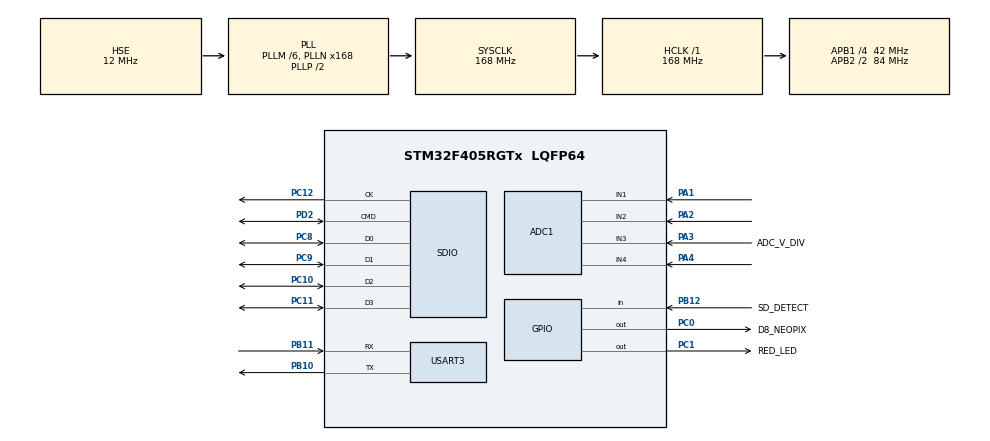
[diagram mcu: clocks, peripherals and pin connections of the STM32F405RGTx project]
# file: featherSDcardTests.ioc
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ADC1.Channel-0\#ChannelRegularConversion=ADC_CHANNEL_1
ADC1.Channel-1\#ChannelRegularConversion=ADC_CHANNEL_2
ADC1.Channel-2\#ChannelRegularConversion=ADC_CHANNEL_4
ADC1.DMAContinuousRequests=ENABLE
ADC1.EOCSelection=ADC_EOC_SEQ_CONV
ADC1.ExternalTrigConv=ADC_EXTERNALTRIGCONV_T2_TRGO
ADC1.NbrOfConversion=3
ADC1.NbrOfConversionFlag=1
ADC1.Rank-0\#ChannelRegularConversion=1
ADC1.Rank-1\#ChannelRegularConversion=2
ADC1.Rank-2\#ChannelRegularConversion=3
ADC1.SamplingTime-0\#ChannelRegularConversion=ADC_SAMPLETIME_28CYCLES
ADC1.SamplingTime-1\#ChannelRegularConversion=ADC_SAMPLETIME_28CYCLES
ADC1.SamplingTime-2\#ChannelRegularConversion=ADC_SAMPLETIME_28CYCLES
ADC1.ScanConvMode=ENABLE
ADC1.master=1
Dma.ADC1.2.Direction=DMA_PERIPH_TO_MEMORY
Dma.ADC1.2.FIFOMode=DMA_FIFOMODE_DISABLE
Dma.ADC1.2.Instance=DMA2_Stream0
Dma.ADC1.2.MemDataAlignment=DMA_MDATAALIGN_WORD
Dma.ADC1.2.MemInc=DMA_MINC_ENABLE
Dma.ADC1.2.Mode=DMA_CIRCULAR
Dma.ADC1.2.PeriphDataAlignment=DMA_PDATAALIGN_WORD
Dma.ADC1.2.PeriphInc=DMA_PINC_DISABLE
Dma.ADC1.2.Priority=DMA_PRIORITY_HIGH
Dma.Request0=SDIO_RX
Dma.Request1=SDIO_TX
Dma.Request2=ADC1
Dma.SDIO_RX.0.Direction=DMA_PERIPH_TO_MEMORY
Dma.SDIO_RX.0.FIFOMode=DMA_FIFOMODE_ENABLE
Dma.SDIO_RX.0.FIFOThreshold=DMA_FIFO_THRESHOLD_FULL
Dma.SDIO_RX.0.Instance=DMA2_Stream3
Dma.SDIO_RX.0.MemBurst=DMA_MBURST_INC4
Dma.SDIO_RX.0.MemDataAlignment=DMA_MDATAALIGN_WORD
Dma.SDIO_RX.0.MemInc=DMA_MINC_ENABLE
Dma.SDIO_RX.0.Mode=DMA_PFCTRL
Dma.SDIO_RX.0.PeriphBurst=DMA_PBURST_INC4
Dma.SDIO_RX.0.PeriphDataAlignment=DMA_PDATAALIGN_WORD
Dma.SDIO_RX.0.PeriphInc=DMA_PINC_DISABLE
Dma.SDIO_RX.0.Priority=DMA_PRIORITY_LOW
Dma.SDIO_TX.1.Direction=DMA_MEMORY_TO_PERIPH
Dma.SDIO_TX.1.FIFOMode=DMA_FIFOMODE_ENABLE
Dma.SDIO_TX.1.FIFOThreshold=DMA_FIFO_THRESHOLD_FULL
Dma.SDIO_TX.1.Instance=DMA2_Stream6
Dma.SDIO_TX.1.MemBurst=DMA_MBURST_INC4
Dma.SDIO_TX.1.MemDataAlignment=DMA_MDATAALIGN_WORD
Dma.SDIO_TX.1.MemInc=DMA_MINC_ENABLE
Dma.SDIO_TX.1.Mode=DMA_PFCTRL
Dma.SDIO_TX.1.PeriphBurst=DMA_PBURST_INC4
Dma.SDIO_TX.1.PeriphDataAlignment=DMA_PDATAALIGN_WORD
Dma.SDIO_TX.1.PeriphInc=DMA_PINC_DISABLE
Dma.SDIO_TX.1.Priority=DMA_PRIORITY_LOW
FATFS.BSP.number=1
FATFS.USE_DMA_CODE_SD=1
FATFS._FS_LOCK=5
FATFS._MAX_SS=4096
FATFS._MIN_SS=512
FATFS._USE_LFN=2
FATFS0.BSP.STBoard=false
FATFS0.BSP.api=Unknown
FATFS0.BSP.instance=PB12
FATFS0.BSP.ip=GPIO
FATFS0.BSP.mode=Input
FATFS0.BSP.name=Detect_SDIO
FATFS0.BSP.solution=PB12
Mcu.Family=STM32F4
Mcu.Name=STM32F405RGTx
Mcu.Package=LQFP64
NVIC.ADC_IRQn=true\:0\:0\:false\:false\:true\:true\:true\:true
NVIC.DMA2_Stream0_IRQn=true\:0\:0\:false\:false\:true\:false\:true\:true
NVIC.DMA2_Stream3_IRQn=true\:0\:0\:false\:false\:true\:false\:true\:true
NVIC.DMA2_Stream6_IRQn=true\:0\:0\:false\:false\:true\:false\:true\:true
NVIC.PriorityGroup=NVIC_PRIORITYGROUP_4
NVIC.SDIO_IRQn=true\:0\:0\:false\:false\:true\:true\:true\:true
PA1.Signal=ADCx_IN1
PA13.Mode=Serial_Wire
PA13.Signal=SYS_JTMS-SWDIO
PA14.Mode=Serial_Wire
PA14.Signal=SYS_JTCK-SWCLK
PA2.Signal=ADCx_IN2
PA3.GPIO_Label=ADC_V_DIV
PA3.Signal=ADCx_IN3
PA4.Signal=ADCx_IN4
PB10.Mode=Asynchronous
PB10.Signal=USART3_TX
PB11.Mode=Asynchronous
PB11.Signal=USART3_RX
PB12.GPIO_Label=SD_DETECT
PB12.GPIO_PuPd=GPIO_PULLUP
PB12.Signal=GPIO_Input
PC0.GPIO_Label=D8_NEOPIX
PC0.Signal=GPIO_Output
PC1.GPIO_Label=RED_LED
PC1.Signal=GPIO_Output
PC10.GPIO_PuPd=GPIO_PULLUP
PC10.Mode=SD_4_bits_Wide_bus
PC10.Signal=SDIO_D2
PC11.GPIO_PuPd=GPIO_NOPULL
PC11.Mode=SD_4_bits_Wide_bus
PC11.Signal=SDIO_D3
PC12.GPIO_PuPd=GPIO_NOPULL
PC12.Mode=SD_4_bits_Wide_bus
PC12.Signal=SDIO_CK
PC8.GPIO_PuPd=GPIO_PULLUP
PC8.Mode=SD_4_bits_Wide_bus
PC8.Signal=SDIO_D0
PC9.GPIO_PuPd=GPIO_PULLUP
PC9.Mode=SD_4_bits_Wide_bus
PC9.Signal=SDIO_D1
PD2.GPIO_PuPd=GPIO_PULLUP
PD2.Mode=SD_4_bits_Wide_bus
PD2.Signal=SDIO_CMD
PH0-OSC_IN.Mode=HSE-External-Oscillator
PH0-OSC_IN.Signal=RCC_OSC_IN
PH1-OSC_OUT.Mode=HSE-External-Oscillator
PH1-OSC_OUT.Signal=RCC_OSC_OUT
ProjectManager.HeapSize=0x2000
ProjectManager.StackSize=0x4000
ProjectManager.TargetToolchain=STM32CubeIDE
RCC.48MHZClocksFreq_Value=48000000
RCC.AHBFreq_Value=168000000
RCC.APB1CLKDivider=RCC_HCLK_DIV4
RCC.APB1Freq_Value=42000000
RCC.APB1TimFreq_Value=84000000
RCC.APB2CLKDivider=RCC_HCLK_DIV2
RCC.APB2Freq_Value=84000000
RCC.APB2TimFreq_Value=168000000
RCC.CortexFreq_Value=168000000
RCC.HCLKFreq_Value=168000000
RCC.HSE_VALUE=12000000
RCC.HSI_VALUE=16000000
RCC.LSE_VALUE=32768
RCC.PLLM=6
RCC.PLLN=168
RCC.PLLQ=7
RCC.PLLSourceVirtual=RCC_PLLSOURCE_HSE
RCC.SYSCLKFreq_VALUE=168000000
RCC.SYSCLKSource=RCC_SYSCLKSOURCE_PLLCLK
RCC.VCOOutputFreq_Value=336000000
SDIO.ClockDiv=4
SH.ADCx_IN1.0=ADC1_IN1,IN1
SH.ADCx_IN2.0=ADC1_IN2,IN2
SH.ADCx_IN3.0=ADC1_IN3,IN3
SH.ADCx_IN4.0=ADC1_IN4,IN4
TIM2.Period=250-1
TIM2.Prescaler=168-1
TIM2.TIM_MasterOutputTrigger=TIM_TRGO_UPDATE
USART3.VirtualMode=VM_ASYNC
VP_FATFS_VS_SDIO.Mode=SDIO
VP_TIM2_VS_ClockSourceINT.Mode=Internal
board=custom

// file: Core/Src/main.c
/* USER CODE BEGIN Header */
/**
  ******************************************************************************
  * @file           : main.c
  * @brief          : Main program body
  ******************************************************************************
  * @attention
  *
  * Copyright (c) 2023 STMicroelectronics.
  * All rights reserved.
  *
  * This software is licensed under terms that can be found in the LICENSE file
  * in the root directory of this software component.
  * If no LICENSE file comes with this software, it is provided AS-IS.
  *
  ******************************************************************************
  */
/* USER CODE END Header */
#include "main.h"
#include "adc.h"
#include "dma.h"
#include "fatfs.h"
#include "sdio.h"
#include "tim.h"
#include "usart.h"
#include "gpio.h"

/* USER CODE BEGIN Includes */
#include "errorstringifyFRresult.h"
#include "sdTESTS.h"
#include <string.h>
#include <stdio.h>
#include <math.h>
/* USER CODE END Includes */

/* USER CODE BEGIN PD */
#define SampleSize 24576
/* USER CODE END PD */

/* USER CODE BEGIN PV */
  FRESULT fres;
  char log_path[] = "/RAW.TXT";
  char log_x[]="/XAXIS.TXT";
  char log_y[]="/YAXIS.TXT";
  char log_z[]="/ZAXIS.TXT";
  char log_r[]="/RESULTANT.TXT";
  char log_x_M[]="/XMFREE.TXT";
  char log_y_M[]="/YMFREE.TXT";
  char log_z_M[]="/ZMFREE.TXT";
  char log_r_M[]="/RMFREE.TXT";

  char log_x_F[]="/XFFT.TXT";
  char log_y_F[]="/YFFT.TXT";
  char log_z_F[]="/ZFFT.TXT";
  char log_r_F[]="/RFFT.TXT";

#define BufferSize 2048
#define ADC_VAL_SIZE 48
uint32_t adcVal[ADC_VAL_SIZE];
uint32_t adcFlush[ADC_VAL_SIZE];
double buffer[BufferSize];
volatile char read_flag=0;
unsigned long count=0;

#define ARM_MATH_CM4
#include "arm_math.h"
int fftbufferIndex = 0;
#define FFT_BUFFER_SIZE 2048
#define SAMPLING_RATE 935.15
arm_rfft_fast_instance_f32 fftHandler;
float32_t fftBuffIn[FFT_BUFFER_SIZE];
float32_t fftBuffOut[FFT_BUFFER_SIZE];
float32_t outputfft_mag_xAxis[FFT_BUFFER_SIZE/2];
float32_t outputfft_mag_yAxis[FFT_BUFFER_SIZE/2];
float32_t outputfft_mag_zAxis[FFT_BUFFER_SIZE/2];
float32_t outputfft_mag_R[FFT_BUFFER_SIZE/2];
uint8_t fftFlag=0;
  /* File read buffer */
/* USER CODE END PV */

void SystemClock_Config(void);

/* USER CODE BEGIN 0 */
double calculateAverage(const double *values, int size) {
    if (size <= 0) {
        return 0.0;  // Return 0 for an empty array or invalid size
    }
    double sum = 0.0;
    for (int i = 0; i < size; i++) {
        sum += values[i];
    }
    return sum / size;
}
void processAndSaveData(const char *inputFileName, const char *outputFileName, double *buffer, int bufferSize, double *totalAverage) {
    FRESULT fresult;
    FIL inputFile, outputFile;
    char line[20];
    int bufferIndex = 0;
    int iterationCount = 0;

//    // Mount the SD card
//    fresult = f_mount(&SDFatFS, SDPath, 1);
//    if (fres != FR_OK) {
//        // Handle SD mount error
//        return;
//    }

    fresult = f_open(&inputFile, inputFileName, FA_READ);
    if (fresult != FR_OK) {
      return;
    }

    fresult = f_open(&outputFile, outputFileName, FA_OPEN_ALWAYS | FA_WRITE);
    if (fresult != FR_OK) {
        f_close(&inputFile);
        return;
    }

    while (f_gets(line, sizeof(line), &inputFile) != NULL) {
        double currentSample;
        if (sscanf(line, "%lf", &currentSample) == 1) {
            buffer[bufferIndex] = currentSample;
            bufferIndex++;

            if (bufferIndex == bufferSize) {
                *totalAverage += calculateAverage(buffer, bufferSize);
                bufferIndex = 0;
                iterationCount=iterationCount+1;
            }
        }
    }

    *totalAverage /= iterationCount;

    f_lseek(&inputFile, 0);

    while (f_gets(line, sizeof(line), &inputFile) != NULL) {
        double value;
        if (sscanf(line, "%lf", &value) == 1) {
            double diff = value - *totalAverage;
            snprintf(buffer, bufferSize, "%.2f\n", diff);
            f_puts(buffer, &outputFile);
        }
    }

    f_close(&inputFile);
    f_close(&outputFile);
}

void writeToFile(char* path1, char* path2, char* path3, uint32_t* buffer, int size) {
    char fileBuffer1[1024];
    char fileBuffer2[1024];
    char fileBuffer3[1024];
    char intBuffer[6];  // Buffer to hold the integer as a string

    int counter1 = 0;
    int counter2 = 0;
    int counter3 = 0;

    char* fbPtr1 = &fileBuffer1[0];
    char* fbPtr2 = &fileBuffer2[0];
    char* fbPtr3 = &fileBuffer3[0];

    // Initialize the buffers
    memset(fileBuffer1, 0, sizeof(fileBuffer1));
    memset(fileBuffer2, 0, sizeof(fileBuffer2));
    memset(fileBuffer3, 0, sizeof(fileBuffer3));
    memset(intBuffer, 0, sizeof(intBuffer));

    // Loop over the buffer and distribute the data into three files
    for (int i = 0; i < size; i += 3) {
        // Process for file 1
        int c = snprintf(intBuffer, sizeof(intBuffer), "%d\n", (int)buffer[i]);
        if (counter1 + c > 1024) {
            // When buffer is full, append to file
            AppendToFile(path1, strlen(path1), fileBuffer1, counter1);
            counter1 = 0;
            memset(fileBuffer1, 0, sizeof(fileBuffer1));
        }
        memcpy(&fileBuffer1[counter1], intBuffer, c);
        counter1 += c;
        fbPtr1+=c;

        // Process for file 2
        if (i + 1 < size) {
            c = snprintf(intBuffer, sizeof(intBuffer), "%d\n", (int)buffer[i + 1]);
            if (counter2 + c > 1024) {
                AppendToFile(path2, strlen(path2), fileBuffer2, counter2);
                counter2 = 0;
                memset(fileBuffer2, 0, sizeof(fileBuffer2));
            }
            memcpy(&fileBuffer2[counter2], intBuffer, c);
            counter2 += c;
            fbPtr2 += c;
        }

        // Process for file 3
        if (i + 2 < size) {
            c = snprintf(intBuffer, sizeof(intBuffer), "%d\n", (int)buffer[i + 2]);
            if (counter3 + c > 1024) {
                AppendToFile(path3, strlen(path3), fileBuffer3, counter3);
                counter3 = 0;
                memset(fileBuffer3, 0, sizeof(fileBuffer3));
            }
            memcpy(&fileBuffer3[counter3], intBuffer, c);
            counter3 += c;
            fbPtr3 += c;
        }
    }

    // After the loop, append any remaining data to the files
    if (counter1 > 0) {
        AppendToFile(path1, strlen(path1), fileBuffer1, counter1);
    }
    if (counter2 > 0) {
        AppendToFile(path2, strlen(path2), fileBuffer2, counter2);
    }
    if (counter3 > 0) {
        AppendToFile(path3, strlen(path3), fileBuffer3, counter3);
    }
}
void HAL_ADC_ConvCpltCallback(ADC_HandleTypeDef* hadc)
 {
	read_flag = 1;
	memcpy(adcFlush,adcVal,ADC_VAL_SIZE*sizeof(uint32_t));
	//HAL_GPIO_TogglePin(GPIOA, GPIO_PIN_8);
 }
void calculateResultant(char* xPath, char* yPath, char* zPath, char* resultPath) {
    // Buffers to hold file data
    char xBuffer[32];
    char yBuffer[32];
    char zBuffer[32];
    char resultBuffer[1024];
    int resultCounter = 0;
    char resultStr[32];
    int xValue, yValue, zValue;

    // Initialize file structures
    FIL xFile, yFile, zFile, resultFile;
    FRESULT fres;

//    // Mount the SD card
//    fres = f_mount(&SDFatFS, SDPath, 1);
//    if (fres != FR_OK) {
//        // Handle SD mount error
//        return;
//    }

    // Open the X, Y, Z axis files for reading
    fres = f_open(&xFile, xPath, FA_READ);
    if (fres != FR_OK) {
        // Handle file open error
        return;
    }

    fres = f_open(&yFile, yPath, FA_READ);
    if (fres != FR_OK) {
        // Handle file open error
        f_close(&xFile);
        return;
    }

    fres = f_open(&zFile, zPath, FA_READ);
    if (fres != FR_OK) {
        // Handle file open error
        f_close(&xFile);
        f_close(&yFile);
        return;
    }

    // Open the result file for writing
    fres = f_open(&resultFile, resultPath, FA_WRITE | FA_CREATE_ALWAYS);
    if (fres != FR_OK) {
        // Handle file open error
        f_close(&xFile);
        f_close(&yFile);
        f_close(&zFile);
        return;
    }

    // Read lines from X, Y, Z files, compute resultant, and write to result file
    while ((f_gets(xBuffer, sizeof(xBuffer), &xFile) != NULL) &&
           (f_gets(yBuffer, sizeof(yBuffer), &yFile) != NULL) &&
           (f_gets(zBuffer, sizeof(zBuffer), &zFile) != NULL)) {

        // Convert strings to integers
        xValue = atoi(xBuffer);
        yValue = atoi(yBuffer);
        zValue = atoi(zBuffer);

        // Calculate the resultant vector: sqrt(x^2 + y^2 + z^2)
        float resultant = sqrtf((xValue * xValue) + (yValue * yValue) + (zValue * zValue));

        // Convert the resultant to string and append to buffer
        int len = snprintf(resultStr, sizeof(resultStr), "%.2f\n", resultant);
        if (resultCounter + len >= sizeof(resultBuffer)) {
            // If buffer is full, write to file and reset the counter
            f_write(&resultFile, resultBuffer, resultCounter, NULL);
            resultCounter = 0;
            memset(resultBuffer, 0, sizeof(resultBuffer));
        }
        memcpy(&resultBuffer[resultCounter], resultStr, len);
        resultCounter += len;
    }

    // Write any remaining data in the buffer
    if (resultCounter > 0) {
        f_write(&resultFile, resultBuffer, resultCounter, NULL);
    }

    // Close all files
    f_close(&xFile);
    f_close(&yFile);
    f_close(&zFile);
    f_close(&resultFile);

//    // Unmount the SD card
//    f_mount(NULL, SDPath, 1);
}
void fftResults(const char *data_file, const char *fft_file, float *outputfft_mag, float *fftBuffIn, float *fftBuffOut) {
    FIL fil1, fil2;
    FRESULT fresult;

//    // Mount the SD card
//    fresult = f_mount(&SDFatFS, SDPath, 1);
//    if (fresult != FR_OK) {
//        // Error mounting the SD card, return from function
//        return;
//    }

    // Open the data file for reading
    fresult = f_open(&fil1, data_file, FA_OPEN_ALWAYS | FA_READ);
    if (fresult != FR_OK) {
        // Error opening data file for reading, unmount SD and return
        f_mount(NULL, SDPath, 1);
        return;
    }

    // Open the FFT result file for writing
    fresult = f_open(&fil2, fft_file, FA_OPEN_ALWAYS | FA_WRITE);
    if (fresult != FR_OK) {
        // Error opening FFT file for writing, close input file, unmount SD and return
        f_close(&fil1);
        f_mount(NULL, SDPath, 1);
        return;
    }

    char line[20];
    int fftbufferIndex = 0;
    int dataCount = 0;

    while (f_gets(line, sizeof(line), &fil1) != NULL && dataCount < FFT_BUFFER_SIZE) {
        double currentfftSample;
        if (sscanf(line, "%lf", &currentfftSample) == 1) {
            fftBuffIn[fftbufferIndex] = currentfftSample;
            fftbufferIndex++;
            dataCount++;

            // If buffer is full, perform FFT
            if (fftbufferIndex == FFT_BUFFER_SIZE) {
                // Perform FFT
                arm_rfft_fast_f32(&fftHandler, fftBuffIn, fftBuffOut, 0);
                arm_cmplx_mag_f32(fftBuffOut, outputfft_mag, FFT_BUFFER_SIZE / 2);

                // Write FFT magnitude results to file
                char fftline[50];
                for (int i = 0; i < FFT_BUFFER_SIZE / 2; i++) {
                    snprintf(fftline, sizeof(fftline), "frequency %.2f: %.2f\n", ((float32_t)(i * SAMPLING_RATE) / FFT_BUFFER_SIZE), outputfft_mag[i]);
                    f_puts(fftline, &fil2);
                }

                // Find the peak frequency and magnitude
                float peakVal = 0.0;
                int peakIndex = 0;
                for (int i = 0; i < FFT_BUFFER_SIZE / 2; i++) {
                    float curVal = outputfft_mag[i];
                    if (curVal > peakVal) {
                        peakVal = curVal;
                        peakIndex = i;
                    }
                }

                // Calculate peak frequency
                float peakFrequency = (float32_t)(peakIndex * SAMPLING_RATE) / FFT_BUFFER_SIZE;

                // Write peak frequency and magnitude to file
                snprintf(fftline, sizeof(fftline), "Peak Frequency: %.3f Hz, Peak Value: %.3f\n", peakFrequency, peakVal);
                f_puts(fftline, &fil2);

                // Reset FFT buffer index for the next chunk
                fftbufferIndex = 0;
            }
        }
    }

    // Close both files
    f_close(&fil1);
    f_close(&fil2);

//    // Unmount the SD card
//    f_mount(NULL, SDPath, 1);
}

/* USER CODE END 0 */

int main(void)
{

  /* MCU Configuration--------------------------------------------------------*/

  /* Reset of all peripherals, Initializes the Flash interface and the Systick. */
  HAL_Init();

  /* Configure the system clock */
  SystemClock_Config();

  /* Initialize all configured peripherals */
  MX_GPIO_Init();
  MX_DMA_Init();
  MX_ADC1_Init();
  MX_SDIO_SD_Init();
  MX_FATFS_Init();
  MX_USART3_UART_Init();
  MX_TIM2_Init();
  /* USER CODE BEGIN 2 */

  HAL_ADC_Start_DMA(&hadc1, adcVal, ADC_VAL_SIZE);
  HAL_TIM_Base_Start(&htim2);
  arm_rfft_fast_init_f32(&fftHandler, FFT_BUFFER_SIZE);
  HAL_Delay(1000);
  FRESULT sd_status = SD_Setup();
  if (sd_status != FR_OK) {
	  HAL_GPIO_WritePin(GPIOC, GPIO_PIN_1, SET);
	  HAL_Delay(500);
	  HAL_GPIO_WritePin(GPIOC, GPIO_PIN_1, RESET);
	  HAL_Delay(500);
      }
  HAL_GPIO_WritePin(GPIOC, GPIO_PIN_1, SET);
  /* USER CODE END 2 */

  /* Infinite loop */
  /* USER CODE BEGIN WHILE */
  while (1)
  {
	  if (read_flag)
	  {
		  writeToFile(log_x, log_y, log_z, adcFlush, ADC_VAL_SIZE);
		  count += ADC_VAL_SIZE;  // Update the count by the size of the data collected
		  read_flag = 0;
	  }
	  if (count >= SampleSize)
	    {
		  HAL_GPIO_WritePin(GPIOC, GPIO_PIN_1, RESET);
		  HAL_ADC_Stop_DMA(&hadc1);
		  HAL_TIM_Base_Stop(&htim2);
          calculateResultant(log_x, log_y, log_z, log_r);
          double totalAverage1 = 0.0;
          processAndSaveData(log_x, log_x_M, buffer, BufferSize, &totalAverage1);
          double totalAverage2 = 0.0;
          processAndSaveData(log_y, log_y_M, buffer, BufferSize, &totalAverage2);
          double totalAverage3 = 0.0;
          processAndSaveData(log_z,log_z_M, buffer, BufferSize, &totalAverage3);
          double totalAverage4 = 0.0;
          processAndSaveData(log_r,log_r_M, buffer, BufferSize, &totalAverage4);
          HAL_GPIO_WritePin(GPIOC, GPIO_PIN_1, SET);
          fftFlag=1;
	    }
	  if(fftFlag){
		  fftResults(log_x_M, log_x_F, outputfft_mag_xAxis, fftBuffIn, fftBuffOut);
		  fftResults(log_y_M, log_y_F, outputfft_mag_yAxis, fftBuffIn, fftBuffOut);
		  fftResults(log_z_M, log_z_F, outputfft_mag_zAxis, fftBuffIn, fftBuffOut);
		  fftResults(log_r_M, log_r_F, outputfft_mag_R, fftBuffIn, fftBuffOut);
		  HAL_GPIO_WritePin(GPIOC, GPIO_PIN_1, RESET);
		  f_mount(NULL, SDPath, 1);
		  break;
	  }
    /* USER CODE END WHILE */

  }
}

void SystemClock_Config(void)
{
  RCC_OscInitTypeDef RCC_OscInitStruct = {0};
  RCC_ClkInitTypeDef RCC_ClkInitStruct = {0};

  /** Configure the main internal regulator output voltage
  */
  __HAL_RCC_PWR_CLK_ENABLE();
  __HAL_PWR_VOLTAGESCALING_CONFIG(PWR_REGULATOR_VOLTAGE_SCALE1);

  /** Initializes the RCC Oscillators according to the specified parameters
  * in the RCC_OscInitTypeDef structure.
  */
  RCC_OscInitStruct.OscillatorType = RCC_OSCILLATORTYPE_HSE;
  RCC_OscInitStruct.HSEState = RCC_HSE_ON;
  RCC_OscInitStruct.PLL.PLLState = RCC_PLL_ON;
  RCC_OscInitStruct.PLL.PLLSource = RCC_PLLSOURCE_HSE;
  RCC_OscInitStruct.PLL.PLLM = 6;
  RCC_OscInitStruct.PLL.PLLN = 168;
  RCC_OscInitStruct.PLL.PLLP = RCC_PLLP_DIV2;
  RCC_OscInitStruct.PLL.PLLQ = 7;
  if (HAL_RCC_OscConfig(&RCC_OscInitStruct) != HAL_OK)
  {
    Error_Handler();
  }

  /** Initializes the CPU, AHB and APB buses clocks
  */
  RCC_ClkInitStruct.ClockType = RCC_CLOCKTYPE_HCLK|RCC_CLOCKTYPE_SYSCLK
                              |RCC_CLOCKTYPE_PCLK1|RCC_CLOCKTYPE_PCLK2;
  RCC_ClkInitStruct.SYSCLKSource = RCC_SYSCLKSOURCE_PLLCLK;
  RCC_ClkInitStruct.AHBCLKDivider = RCC_SYSCLK_DIV1;
  RCC_ClkInitStruct.APB1CLKDivider = RCC_HCLK_DIV4;
  RCC_ClkInitStruct.APB2CLKDivider = RCC_HCLK_DIV2;

  if (HAL_RCC_ClockConfig(&RCC_ClkInitStruct, FLASH_LATENCY_5) != HAL_OK)
  {
    Error_Handler();
  }
}

void Error_Handler(void)
{
  __disable_irq();
  while (1)
  {
  }
}
